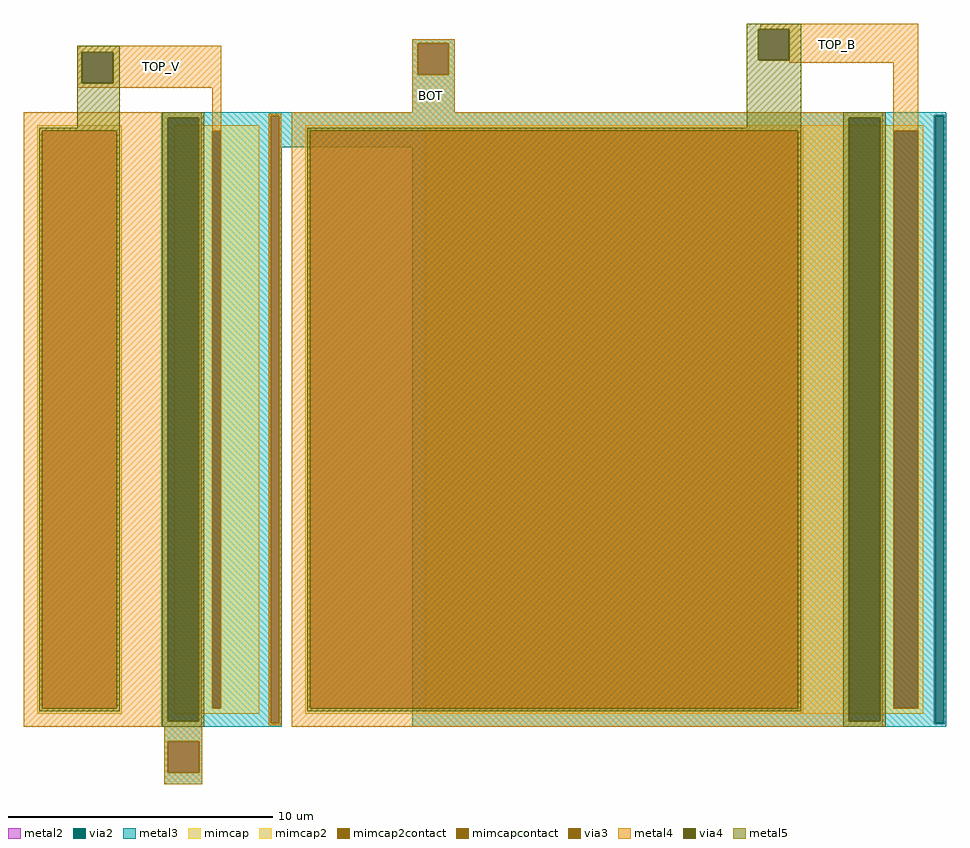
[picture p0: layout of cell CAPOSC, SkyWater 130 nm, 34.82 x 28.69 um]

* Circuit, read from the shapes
.subckt CAPOSC BOT TOP_V TOP_B
XC1 TOP_V BOT sky130_fd_pr__cap_mim_m3_2 w=3.2 l=22.2
XC2 TOP_V BOT sky130_fd_pr__cap_mim_m3_1 w=3.2 l=22.2
XC3 TOP_B BOT sky130_fd_pr__cap_mim_m3_2 w=18.8 l=22.2
XC4 TOP_B BOT sky130_fd_pr__cap_mim_m3_1 w=18.8 l=22.2
.ends

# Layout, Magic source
magic
tech sky130A
magscale 1 2
<< metal2 >>
rect 9938 4612 10022 4622
rect 9938 28 9948 4612
rect 10012 28 10022 4612
rect 9938 18 10022 28
<< via2 >>
rect 9948 28 10012 4612
<< metal3 >>
rect 6000 5160 6320 5190
rect 6000 4924 6042 5160
rect 6278 4924 6320 5160
rect 6000 4640 6320 4924
rect 5016 4612 10032 4640
rect 5016 4374 9948 4612
rect 6000 28 9948 4374
rect 10012 28 10032 4612
rect 4130 -110 4414 2
rect 6000 0 10032 28
rect 4130 -346 4156 -110
rect 4392 -346 4414 -110
rect 4130 -432 4414 -346
<< via3 >>
rect 6042 4924 6278 5160
rect 4156 -346 4392 -110
<< mimcap >>
rect 6100 4500 9860 4540
rect 6100 140 9636 4500
rect 9820 140 9860 4500
rect 6100 100 9860 140
<< mimcapcontact >>
rect 9636 140 9820 4500
<< metal4 >>
rect 8628 5268 9822 5306
rect 6000 5160 6320 5190
rect 3470 5094 4558 5142
rect 3470 4858 3506 5094
rect 3742 4858 4558 5094
rect 3470 4826 4558 4858
rect 4490 4498 4558 4826
rect 6000 4924 6042 5160
rect 6278 4924 6320 5160
rect 8848 5014 9822 5268
rect 6000 4640 6320 4924
rect 9634 4500 9822 5014
rect 9634 140 9636 4500
rect 9820 140 9822 4500
rect 9634 138 9822 140
rect 4130 -110 4414 2
rect 4130 -346 4156 -110
rect 4392 -346 4414 -110
rect 4130 -432 4414 -346
<< via4 >>
rect 3506 4858 3742 5094
rect 8612 5032 8848 5268
<< metal5 >>
rect 8526 5268 8936 5306
rect 3472 5094 3792 5140
rect 3472 4858 3506 5094
rect 3742 4858 3792 5094
rect 3472 4524 3792 4858
rect 8526 5032 8612 5268
rect 8848 5032 8936 5268
rect 3472 4500 3506 4524
rect 8526 4500 8936 5032
use sky130_fd_pr__cap_mim_m3_2_7PBNAZ  sky130_fd_pr__cap_mim_m3_2_7PBNAZ_0
transform 1 0 3739 0 1 2320
box -671 -2321 693 2321
use sky130_fd_pr__cap_mim_m3_1_9K4XRG  sky130_fd_pr__cap_mim_m3_1_9K4XRG_0
transform 1 0 4560 0 1 2320
box -456 -2320 456 2320
use sky130_fd_pr__cap_mim_m3_2_4SGG6N  sky130_fd_pr__cap_mim_m3_2_4SGG6N_0
transform 1 0 7323 0 1 2320
box -2231 -2321 2253 2321
<< labels >>
flabel metal4 6140 4764 6140 4764 0 FreeSans 1600 0 0 0 BOT
port 2 nsew
flabel metal4 9210 5152 9210 5152 0 FreeSans 1600 0 0 0 TOP_B
port 4 nsew
flabel metal4 4110 4986 4110 4986 0 FreeSans 1600 0 0 0 TOP_V
port 3 nsew
<< end >>

# cell sky130_fd_pr__cap_mim_m3_2_7PBNAZ: kit device sky130_fd_pr__cap_mim_m3_2, w 3.2 l 22.2 val 151.732 carea 2.00 cperi 0.19 nx 1 ny 1 dummy 0 square 0 lmin 2.00 wmin 2.00 lmax 30.0 wmax 30.0 dc 0 bconnect 1 tconnect 1 ccov 100

# cell sky130_fd_pr__cap_mim_m3_1_9K4XRG: kit device sky130_fd_pr__cap_mim_m3_1, w 3.2 l 22.2 val 151.732 carea 2.00 cperi 0.19 nx 1 ny 1 dummy 0 square 0 lmin 2.00 wmin 2.00 lmax 30.0 wmax 30.0 dc 0 bconnect 1 tconnect 1 ccov 5

# cell sky130_fd_pr__cap_mim_m3_2_4SGG6N: kit device sky130_fd_pr__cap_mim_m3_2, w 18.8 l 22.2 val 850.3 carea 2.00 cperi 0.19 nx 1 ny 1 dummy 0 square 0 lmin 2.00 wmin 2.00 lmax 30.0 wmax 30.0 dc 0 bconnect 1 tconnect 1 ccov 100
